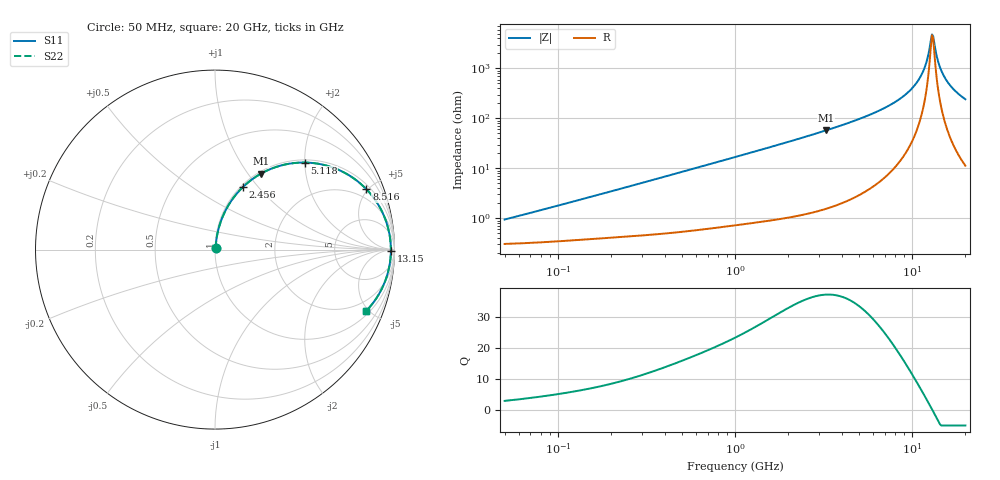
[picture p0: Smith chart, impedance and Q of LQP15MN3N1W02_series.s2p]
!Murata Part Number: LQP15MN3N1W02
!These Parameters are Measured in Series Mode Connection
!  o--[Z]--o
!Port1  Port2
!  o-------o
!Freq. Start=50[MHz] Stop=20[GHz], 401[Steps]
# Hz S RI R 50
!Freq.(Hz) S11(Real) S11(Imag) S21(Real) S21(Imag) S12(Real) S12(Imag) S22(Real) S22(Imag)
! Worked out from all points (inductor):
!   401 points, 50 MHz to 20 GHz, reference 50 ohm
!   read as one part in series: L = 2.84 nH near 52.3 MHz
!   highest Q = 37.1 at 3.265 GHz (marker M1), where L = 2.8 nH
!   self-resonance near 12.95 GHz
!   S11 on the Smith chart (normalised r, x): 50 MHz: 1.01, +0.02; 2.456 GHz: 1.02, +0.84; 5.118 GHz: 1.06, +2.00; 8.516 GHz: 1.27, +4.89; 13.15 GHz: 82, -38; 20 GHz: 1.23, -4.83
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5e7  0.00314 0.0089  0.9969 -0.0089  0.9969 -0.0089  0.00314 0.0089
1.364002e8  0.00428 0.0236  0.9957 -0.0236  0.9957 -0.0236  0.00428 0.0236
3.721004e8  0.00875 0.0624  0.9912 -0.0624  0.9912 -0.0624  0.00875 0.0624
1e9  0.0341 0.1611  0.9659 -0.1611  0.9659 -0.1611  0.0341 0.1611
2.456456e9  0.1576 0.3505  0.8424 -0.3505  0.8424 -0.3505  0.1576 0.3505
2.728004e9  0.1885 0.3776  0.8115 -0.3776  0.8115 -0.3776  0.1885 0.3776
3.265178e9  0.2544 0.4223  0.7456 -0.4223  0.7456 -0.4223  0.2544 0.4223
5.117541e9  0.4991 0.4851  0.5009 -0.4851  0.5009 -0.4851  0.4991 0.4851
7.442007e9  0.7588 0.4064  0.2412 -0.4064  0.2412 -0.4064  0.7588 0.4064
8.516016e9  0.8438 0.3361  0.1562 -0.3361  0.1562 -0.3361  0.8438 0.3361
9.892087e9  0.9196 0.2332  0.0804 -0.2332  0.0804 -0.2332  0.9196 0.2332
1.098561e10  0.9562 0.1488  0.0438 -0.1488  0.0438 -0.1488  0.9562 0.1488
1.183995e10  0.9724 0.0842  0.0276 -0.0842  0.0276 -0.0842  0.9724 0.0842
1.220001e10  0.9764 0.0578  0.0236 -0.0578  0.0236 -0.0578  0.9764 0.0578
1.276073e10  0.9796 0.0177  0.0204 -0.0177  0.0204 -0.0177  0.9796 0.0177
1.295331e10  0.98 0.00434  0.02 -0.00434  0.02 -0.00434  0.98 0.00434
1.314879e10  0.98 -0.00907  0.02 0.00907  0.02 0.00907  0.98 -0.00907
1.334722e10  0.9796 -0.0225  0.0204 0.0225  0.0204 0.0225  0.9796 -0.0225
1.417136e10  0.9744 -0.0758  0.0256 0.0758  0.0256 0.0758  0.9744 -0.0758
1.527346e10  0.9598 -0.1409  0.0402 0.1409  0.0402 0.1409  0.9598 -0.1409
1.721783e10  0.9191 -0.2382  0.0809 0.2382  0.0809 0.2382  0.9191 -0.2382
2e10  0.8428 -0.3414  0.1572 0.3414  0.1572 0.3414  0.8428 -0.3414
